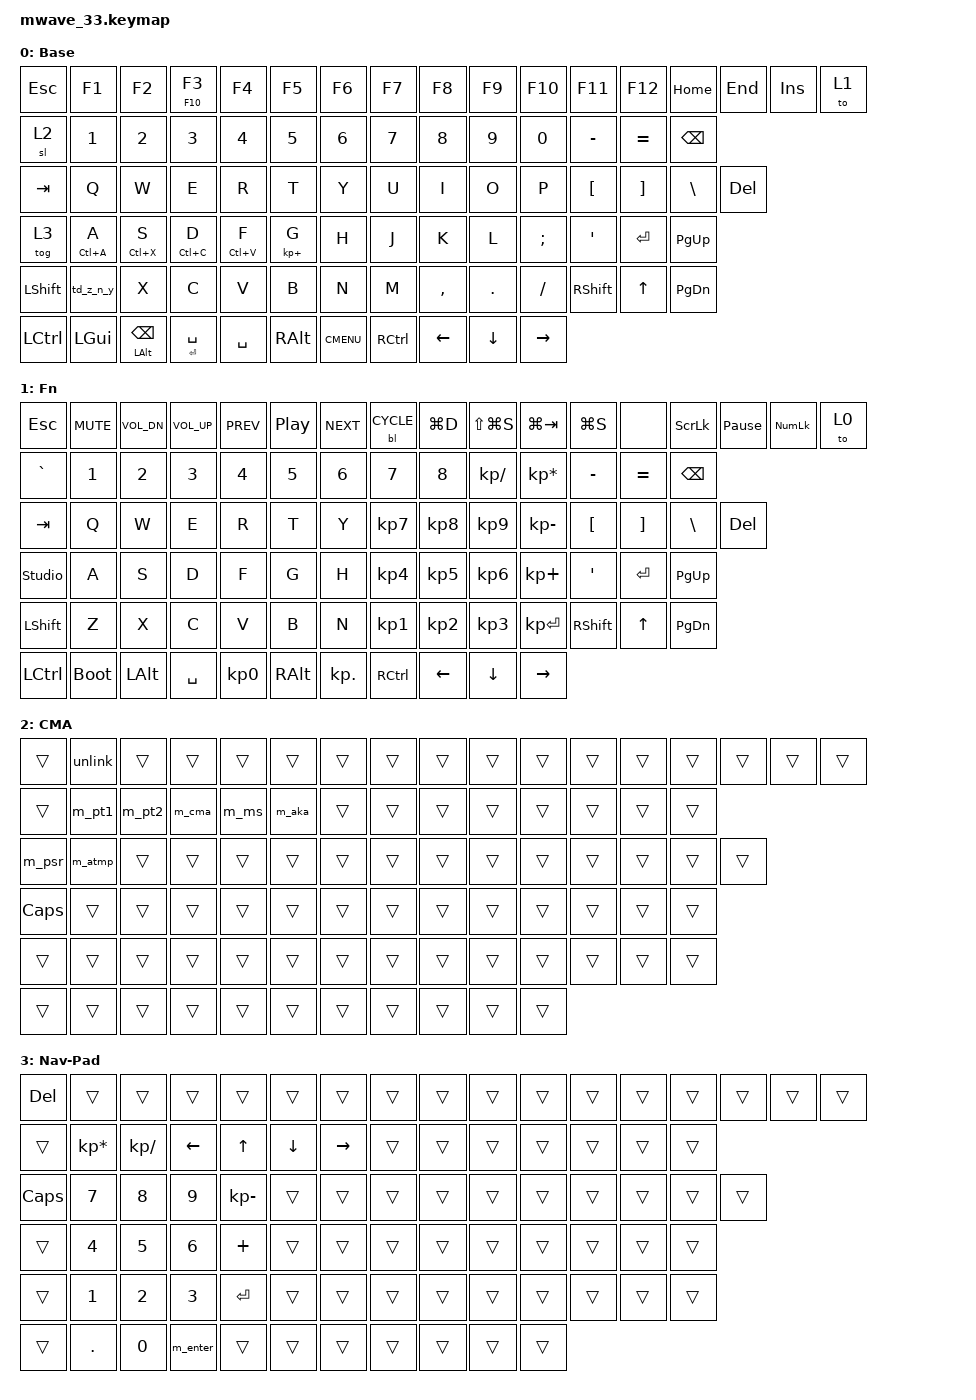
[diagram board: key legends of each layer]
#include <dt-bindings/advertising_mode.h>
#include <behaviors/advertising_mode.dtsi>
#include <behaviors/stp_indicators.dtsi>
#include <behaviors.dtsi>
#include <dt-bindings/zmk/backlight.h>
#include <dt-bindings/zmk/keys.h>
#include "studio-macros.dtsi"

/* GLOBAL SETTINGS */

&mt {
    flavor = "tap-preferred";
    tapping-term-ms = <150>;
    require-prior-idle-ms = <150>;
    quick-tap-ms = <175>;
};

/ {
    macros {
        vh_macro: vh_macro {
            compatible = "zmk,behavior-macro";
            #binding-cells = <0>;
            bindings = <&kp V &kp H>;
        };

        cl_macro: cl_macro {
            compatible = "zmk,behavior-macro";
            #binding-cells = <0>;
            bindings = <&kp C &kp L>;
        };

        m08: m08 {
            compatible = "zmk,behavior-macro";
            #binding-cells = <0>;
            bindings = <&kp N0 &kp N8>;
        };

        // WORK MACROS

        m_pt1: m_pt1 {
            compatible = "zmk,behavior-macro";
            #binding-cells = <0>;
            bindings = <&kp C &kp M &kp A &kp UNDER &kp P &kp T &kp N1>;
        };

        m_pt2: m_pt2 {
            compatible = "zmk,behavior-macro";
            #binding-cells = <0>;
            bindings = <&kp C &kp M &kp A &kp UNDER &kp P &kp T &kp N2>;
        };

        m_cma: m_cma {
            compatible = "zmk,behavior-macro";
            #binding-cells = <0>;
            bindings = <&kp C &kp M &kp A>;
        };

        m_ms: m_ms {
            compatible = "zmk,behavior-macro";
            #binding-cells = <0>;
            bindings = <&kp M &kp S>;
        };

        m_aka: m_aka {
            compatible = "zmk,behavior-macro";
            #binding-cells = <0>;
            bindings = <&kp A &kp K &kp A &kp SPACE>;
            label = "M_AKA";
        };

        m_psr: m_psr {
            compatible = "zmk,behavior-macro";
            #binding-cells = <0>;
            bindings = <&kp P &kp E &kp R &kp SPACE &kp S &kp T &kp M &kp N &kp T &kp SPACE &kp R &kp E &kp V>;
            label = "M_PSR";
        };

        // MENU MACRO (Alt+T, M, P)

        m_atmp: m_atmp {
            compatible = "zmk,behavior-macro";
            #binding-cells = <0>;
            wait-ms = <40>;
            tap-ms = <20>;
            bindings = <&kp LALT &kp T &kp M &kp P &to 3>;
            label = "M_ATMP";
        };

        m14: m14 {
            compatible = "zmk,behavior-macro";
            #binding-cells = <0>;
            bindings = <&kp NUMBER_1 &kp NUMBER_4>;
            label = "M14";
        };

        m17: m17 {
            compatible = "zmk,behavior-macro";
            #binding-cells = <0>;
            bindings = <&kp NUMBER_1 &kp N7>;
            label = "M17";
        };

        mcn: mcn {
            compatible = "zmk,behavior-macro";
            #binding-cells = <0>;
            bindings = <&kp C &kp N>;
            label = "MCN";
        };

        m_enter: m_enter {
            compatible = "zmk,behavior-macro";
            #binding-cells = <0>;
            bindings = <&kp ENTER &to 0>;
            label = "M_ENTER";
        };

        unlink: unlink {
            compatible = "zmk,behavior-macro";
            #binding-cells = <0>;
            bindings = <&kp U &kp LS(F11) &kp RET>;
            label = "UNLINK";
        };
    };

    behaviors {
        td_z_n_y: td_z_n_y {
            compatible = "zmk,behavior-tap-dance";
            label = "TD_Z_N_Y";
            #binding-cells = <0>;
            tapping-term-ms = <300>;
            bindings = <&kp Z>, <&kp N>, <&kp Y>;
        };

        td_v_h: td_v_h {
            compatible = "zmk,behavior-tap-dance";
            label = "TD_V_H";
            #binding-cells = <0>;
            tapping-term-ms = <200>;
            bindings = <&kp V>, <&vh_macro>;
        };

        td_c_l: td_c_l {
            compatible = "zmk,behavior-tap-dance";
            label = "TD_C_L";
            #binding-cells = <0>;
            tapping-term-ms = <200>;
            bindings = <&kp C>, <&cl_macro>;
        };

        alt_bs: alt_bs {
            compatible = "zmk,behavior-hold-tap";
            label = "ALT_BS";
            #binding-cells = <2>;
            tapping-term-ms = <150>;
            flavor = "balanced";
            bindings = <&kp>, <&kp>;
        };

        ht: ht {
            compatible = "zmk,behavior-hold-tap";
            label = "HOLD_TAP";
            #binding-cells = <2>;
            tapping-term-ms = <150>;
            flavor = "balanced";
            bindings = <&kp>, <&kp>;
        };
    };
};

/ {
    #include "mwave_prim.dtsi"

    combos {
        compatible = "zmk,combos";

        oh8 {
            bindings = <&m08>;
            key-positions = <18 19>;
        };

        esc14 {
            bindings = <&m14>;
            key-positions = <18 20>;
        };

        esc17 {
            bindings = <&m17>;
            key-positions = <19 20>;
        };

        cl {
            bindings = <&cl_macro>;
            key-positions = <63 64>;
        };

        vh {
            bindings = <&vh_macro>;
            key-positions = <64 65>;
        };

        cn {
            bindings = <&mcn>;
            key-positions = <62 63>;
        };
    };

    keymap {
        compatible = "zmk,keymap";

        // LAYER 0: BASE

        default_layer {
            display-name = "Base";
            bindings = <
&kp ESC    &kp F1        &kp F2             &ht F10 F3        &kp F4       &kp F5         &kp F6       &kp F7     &kp F8     &kp F9    &kp F10    &kp F11    &kp F12    &kp HOME   &kp END  &kp INSERT  &to 1
&sl 2      &kp NUMBER_1  &kp NUMBER_2       &kp NUMBER_3      &kp N4       &kp N5         &kp N6       &kp N7     &kp N8     &kp N9    &kp N0     &kp MINUS  &kp EQUAL  &kp BSPC
&kp TAB    &kp Q         &kp W              &kp E             &kp R        &kp T          &kp Y        &kp U      &kp I      &kp O     &kp P      &kp LBKT   &kp RBKT   &kp BSLH   &kp DEL
&tog 3     &mt LC(A) A   &mt LC(X) S        &mt LC(C) D       &mt LC(V) F  &mt KP_PLUS G  &kp H        &kp J      &kp K      &kp L     &kp SEMI   &kp SQT    &kp RET    &kp PG_UP
&kp LSHFT  &td_z_n_y     &kp X              &kp C             &kp V        &kp B          &kp N        &kp M      &kp COMMA  &kp DOT   &kp FSLH   &kp RSHFT  &kp UP     &kp PG_DN
&kp LCTRL  &kp LGUI      &alt_bs LALT BSPC  &ht RETURN SPACE  &kp SPACE    &kp RALT       &kp K_CMENU  &kp RCTRL  &kp LEFT   &kp DOWN  &kp RIGHT
            >;
        };

        // LAYER 1: FUNCTION / NUMPAD

        raise {
            display-name = "Fn";
            bindings = <
&kp ESCAPE      &kp C_MUTE   &kp C_VOL_DN  &kp C_VOL_UP  &kp C_PREV  &kp C_PP  &kp C_NEXT  &bl BL_CYCLE  &kp LG(D)  &kp LS(LG(S))  &kp LG(TAB)      &kp LG(S)        &none      &kp SCROLLLOCK  &kp PAUSE_BREAK  &kp KP_NUMLOCK  &to 0
&kp GRAVE       &kp N1       &kp N2        &kp N3        &kp N4      &kp N5    &kp N6      &kp N7        &kp N8     &kp KP_DIVIDE  &kp KP_MULTIPLY  &kp MINUS        &kp EQUAL  &kp BACKSPACE
&kp TAB         &kp Q        &kp W         &kp E         &kp R       &kp T     &kp Y       &kp KP_N7     &kp KP_N8  &kp KP_N9      &kp KP_MINUS     &kp LBKT         &kp RBKT   &kp BSLH        &kp DELETE
&studio_unlock  &kp A        &kp S         &kp D         &kp F       &kp G     &kp H       &kp KP_N4     &kp KP_N5  &kp KP_N6      &kp KP_PLUS      &kp SQT          &kp ENTER  &kp PAGE_UP
&kp LEFT_SHIFT  &kp Z        &kp X         &kp C         &kp V       &kp B     &kp N       &kp KP_N1     &kp KP_N2  &kp KP_N3      &kp KP_ENTER     &kp RIGHT_SHIFT  &kp UP     &kp PAGE_DOWN
&kp LCTRL       &bootloader  &kp LALT      &kp SPACE     &kp KP_N0   &kp RALT  &kp KP_DOT  &kp RCTRL     &kp LEFT   &kp DOWN       &kp RIGHT
            >;
        };

        // LAYER 2: WORK MACROS (CMA)

        work_layer {
            display-name = "CMA";
            bindings = <
&trans    &unlink  &trans  &trans  &trans  &trans  &trans  &trans  &trans  &trans  &trans  &trans  &trans  &trans  &trans  &trans  &trans
&trans    &m_pt1   &m_pt2  &m_cma  &m_ms   &m_aka  &trans  &trans  &trans  &trans  &trans  &trans  &trans  &trans
&m_psr    &m_atmp  &trans  &trans  &trans  &trans  &trans  &trans  &trans  &trans  &trans  &trans  &trans  &trans  &trans
&kp CLCK  &trans   &trans  &trans  &trans  &trans  &trans  &trans  &trans  &trans  &trans  &trans  &trans  &trans
&trans    &trans   &trans  &trans  &trans  &trans  &trans  &trans  &trans  &trans  &trans  &trans  &trans  &trans
&trans    &trans   &trans  &trans  &trans  &trans  &trans  &trans  &trans  &trans  &trans
            >;
        };

        // LAYER 3: NAV LAYER (WASD + LEFT THUMB ENTER)

        nav_layer {
            display-name = "Nav-Pad";
            bindings = <
&kp DELETE  &trans           &trans         &trans    &trans        &trans    &trans     &trans  &trans  &trans  &trans  &trans  &trans  &trans  &trans  &trans  &trans
&trans      &kp KP_MULTIPLY  &kp KP_DIVIDE  &kp LEFT  &kp UP_ARROW  &kp DOWN  &kp RIGHT  &trans  &trans  &trans  &trans  &trans  &trans  &trans
&kp CLCK    &kp N7           &kp N8         &kp N9    &kp KP_MINUS  &trans    &trans     &trans  &trans  &trans  &trans  &trans  &trans  &trans  &trans
&trans      &kp N4           &kp N5         &kp N6    &kp PLUS      &trans    &trans     &trans  &trans  &trans  &trans  &trans  &trans  &trans
&trans      &kp N1           &kp N2         &kp N3    &kp ENTER     &trans    &trans     &trans  &trans  &trans  &trans  &trans  &trans  &trans
&trans      &kp PERIOD       &kp N0         &m_enter  &trans        &trans    &trans     &trans  &trans  &trans  &trans
            >;
        };

        extra1 {
            display-name = "Blue";
            status = "reserved";
        };

        extra2 {
            display-name = "Green";
            status = "reserved";
        };

        extra3 {
            display-name = "Red";
            status = "reserved";
        };

        extra4 {
            display-name = "Purple";
            status = "reserved";
        };

        extra5 {
            display-name = "Cyan";
            status = "reserved";
        };

        extra6 {
            display-name = "Yellow";
            status = "reserved";
        };
    };
};
